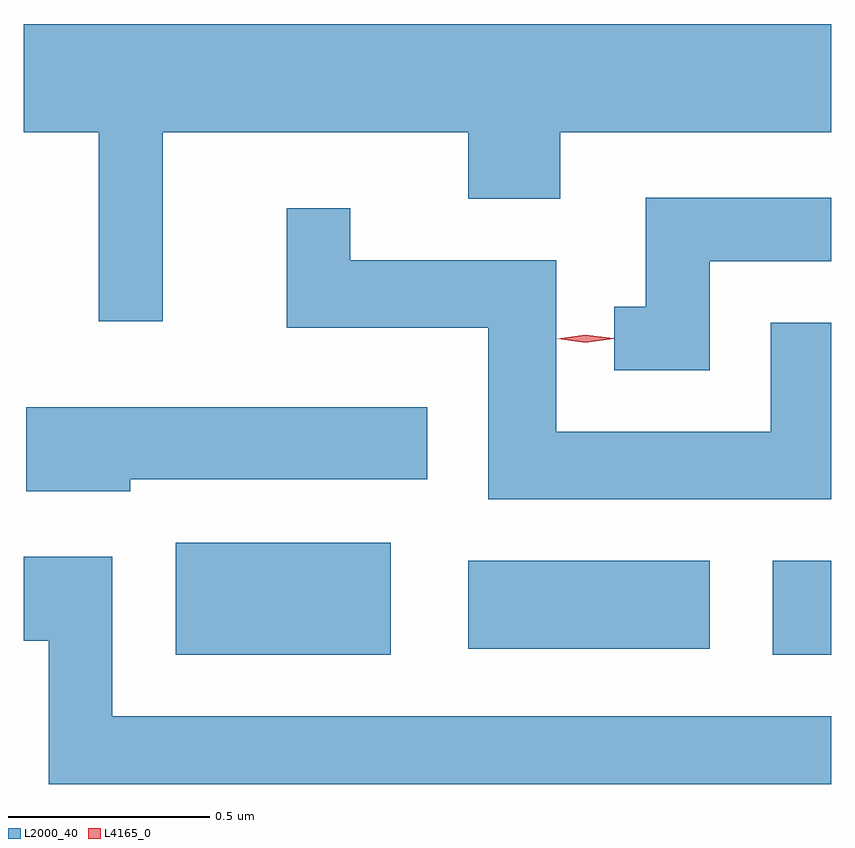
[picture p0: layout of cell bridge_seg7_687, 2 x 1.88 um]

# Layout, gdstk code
import gdstk
lib = gdstk.Library(unit=1e-6, precision=1e-09)
def R(c, l, rs):  # rectangles x0, y0, x1, y1
    for r in rs: c.add(gdstk.rectangle(r[:2], r[2:], *l))
def P(c, l, *ps):  # polygons
    for p in ps: c.add(gdstk.Polygon(p, *l))
L2000_40 = (2000, 40)
L4165_0 = (4165, 0)

bridge_seg7_687 = lib.new_cell('bridge_seg7_687')
R(bridge_seg7_687, L2000_40, [(828.726,1721.901,829.259,1722.179), (830.206,1721.901,830.35,1722.134), (829.451,1721.916,830.049,1722.134)])
P(bridge_seg7_687, L2000_40, [(828.694,1723.196),(829.451,1723.196),(829.451,1723.031),(829.679,1723.031),(829.679,1723.196),(830.35,1723.196),(830.35,1723.464),(828.35,1723.464),(828.35,1723.196),(828.536,1723.196),(828.536,1722.728),(828.694,1722.728)],
  [(830.049,1722.876),(830.35,1722.876),(830.35,1723.034),(829.891,1723.034),(829.891,1722.764),(829.813,1722.764),(829.813,1722.606),(830.049,1722.606)],
  [(830.35,1722.724),(830.201,1722.724),(830.201,1722.454),(829.669,1722.454),(829.669,1722.879),(829.159,1722.879),(829.159,1723.008),(829.001,1723.008),(829.001,1722.711),(829.501,1722.711),(829.501,1722.286),(830.35,1722.286)],
  [(828.614,1722.336),(829.349,1722.336),(829.349,1722.514),(828.356,1722.514),(828.356,1722.306),(828.614,1722.306)],
  [(830.35,1721.749),(828.569,1721.749),(828.569,1722.144),(828.35,1722.144),(828.35,1721.936),(828.411,1721.936),(828.411,1721.581),(830.35,1721.581)])
P(bridge_seg7_687, L4165_0, [(829.741,1722.674),(829.672,1722.684),(829.672,1722.684),(829.672,1722.684),(829.741,1722.694),(829.811,1722.685),(829.811,1722.685),(829.811,1722.684)])

lib.write_gds('bridge_seg7_687.gds')
